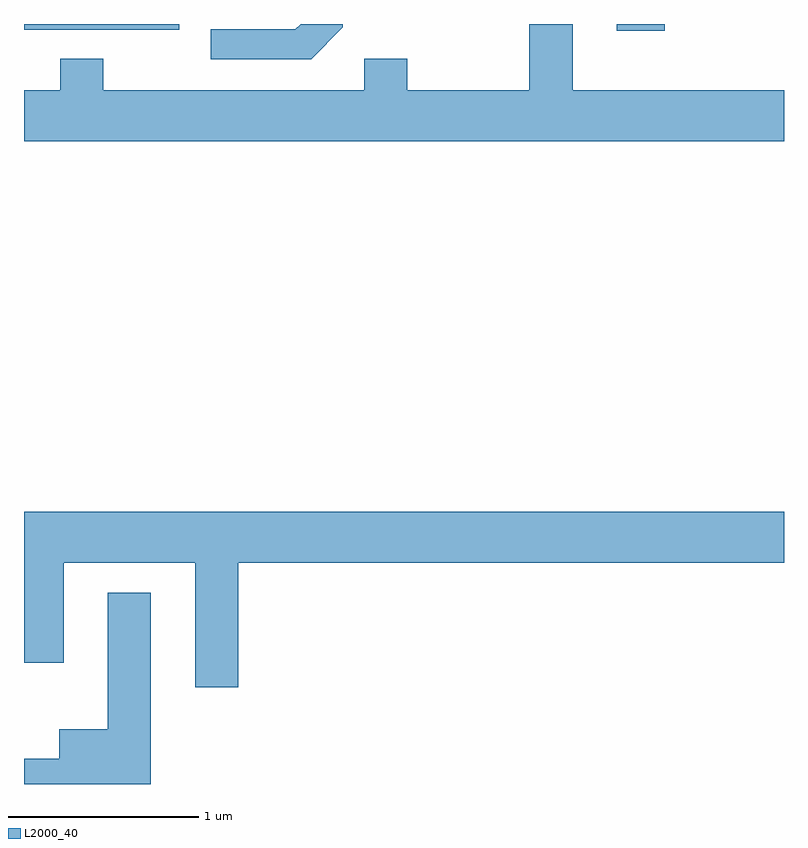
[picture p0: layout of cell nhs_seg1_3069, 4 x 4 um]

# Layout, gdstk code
import gdstk
lib = gdstk.Library(unit=1e-6, precision=1e-09)
def R(c, l, rs):  # rectangles x0, y0, x1, y1
    for r in rs: c.add(gdstk.rectangle(r[:2], r[2:], *l))
def P(c, l, *ps):  # polygons
    for p in ps: c.add(gdstk.Polygon(p, *l))
L2000_40 = (2000, 40)

nhs_seg1_3069 = lib.new_cell('nhs_seg1_3069')
R(nhs_seg1_3069, L2000_40, [(280.731,935.676,280.984,935.712), (277.611,935.681,278.429,935.712)])
P(nhs_seg1_3069, L2000_40, [(281.611,935.364),(280.499,935.364),(280.499,935.712),(280.271,935.712),(280.271,935.364),(279.629,935.364),(279.629,935.529),(279.401,935.529),(279.401,935.364),(278.029,935.364),(278.029,935.529),(277.801,935.529),(277.801,935.364),(277.611,935.364),(277.611,935.096),(281.611,935.096)],
  [(279.289,935.694),(279.289,935.712),(279.067,935.712),(279.039,935.684),(278.593,935.684),(278.593,935.526),(279.122,935.526)],
  [(278.739,932.876),(281.611,932.876),(281.611,933.144),(277.611,933.144),(277.611,932.351),(277.819,932.351),(277.819,932.876),(278.511,932.876),(278.511,932.221),(278.739,932.221)],
  [(278.279,932.719),(278.051,932.719),(278.051,931.999),(277.796,931.999),(277.796,931.844),(277.611,931.844),(277.611,931.712),(278.279,931.712)])

lib.write_gds('nhs_seg1_3069.gds')
